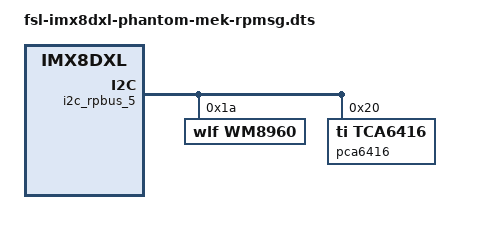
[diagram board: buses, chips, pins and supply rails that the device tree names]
/*
 * Copyright 2019 NXP
 *
 * This program is free software; you can redistribute it and/or
 * modify it under the terms of the GNU General Public License
 * as published by the Free Software Foundation; either version 2
 * of the License, or (at your option) any later version.
 *
 * This program is distributed in the hope that it will be useful,
 * but WITHOUT ANY WARRANTY; without even the implied warranty of
 * MERCHANTABILITY or FITNESS FOR A PARTICULAR PURPOSE.  See the
 * GNU General Public License for more details.
 */

/dts-v1/;

#include "fsl-imx8dxl-phantom-mek.dtsi"

/delete-node/ &i2c0_cm40;

&i2c_rpbus_5 {
	#address-cells = <1>;
	#size-cells = <0>;
	status = "okay";

	wm8960: wm8960@1a {
		compatible = "wlf,wm8960";
		reg = <0x1a>;
		clocks = <&clk IMX8QXP_AUD_MCLKOUT0>;
		clock-names = "mclk";
		wlf,shared-lrclk;
		power-domains = <&pd_mclk_out0>;
		assigned-clocks = <&clk IMX8QXP_AUD_PLL0_DIV>,
				<&clk IMX8QXP_AUD_ACM_AUD_PLL_CLK0_DIV>,
				<&clk IMX8QXP_AUD_ACM_AUD_REC_CLK0_DIV>,
				<&clk IMX8QXP_AUD_MCLKOUT0>;
		assigned-clock-rates = <786432000>, <49152000>, <12288000>, <12288000>;
	};

	pca6416: gpio@20 {
		compatible = "ti,tca6416";
		reg = <0x20>;
		gpio-controller;
		#gpio-cells = <2>;
	};
};

&reg_can0_en {
	status = "disabled";
};

&reg_can0_stby {
	status = "disabled";
};

&reg_can1_en {
	status = "disabled";
};

&reg_can1_stby {
	status = "disabled";
};

&intmux_cm40 {
	status = "disabled";
};

&flexcan1 {
	status = "disabled";
};

&flexcan2 {
	status = "disabled";
};

&flexspi0 {
	status = "disabled";
};
